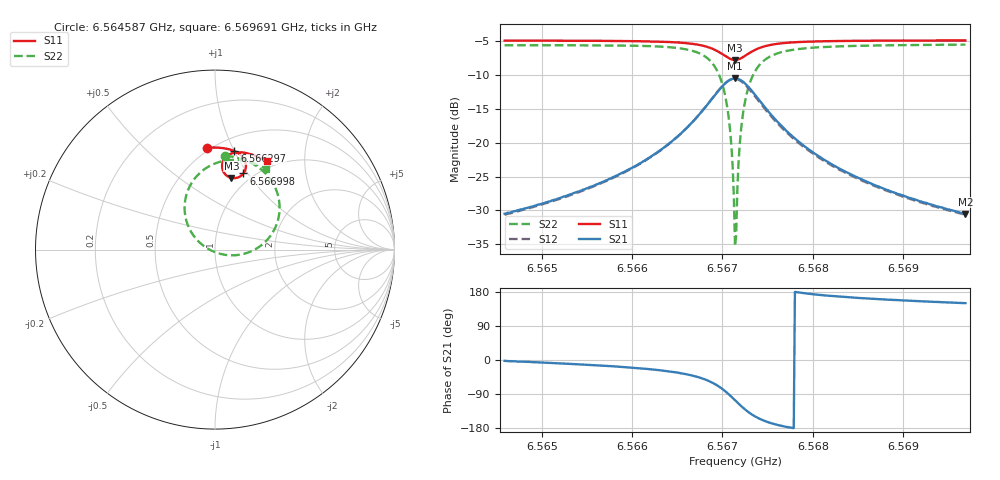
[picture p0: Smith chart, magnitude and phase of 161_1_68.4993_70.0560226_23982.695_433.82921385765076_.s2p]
#  HZ  S  RI  R  50.00
! Rohde & Schwarz Vector Network Analyzer
! Rohde-Schwarz,ZNB20-2Port,1311601062101988,3.16
! Created: UTC 3/20/2024, 5:10:55 PM
! freq[Hz]  re:S11  im:S11  re:S21  im:S21  re:S12  im:S12  re:S22  im:S22
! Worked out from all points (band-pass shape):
!   401 points, 6.564587 GHz to 6.569691 GHz, reference 50 ohm
!   highest |S21| = -10.49 dB at 6.567139 GHz (marker M1); lowest = -30.5 dB at 6.569691 GHz (marker M2)
!   |S21| within 3 dB of the highest: 6.566885 GHz to 6.567395 GHz (509.9 kHz wide, 0.00776 % of centre)
!   lowest |S11| = -7.7 dB at 6.567139 GHz (marker M3), VSWR 2.39, Z = 42.2 + j40.5 ohm
!   |S11| at or under -10 dB: nowhere
!   |S22| runs from -35.3 to -5.5 dB; largest |S21 - S12| = 0.015
!   S11 on the Smith chart (normalised r, x): 6.564587 GHz: 0.48, +0.80; 6.566297 GHz: 0.63, +1.00; 6.566998 GHz: 0.89, +0.95; 6.569691 GHz: 0.90, +1.31
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6.5645868e9  -0.0452 0.5672  0.0298 -0.00115  0.0292 -0.00172  0.0557 0.523
6.5654417e9  0.0259 0.5671  0.0434 -0.00911  0.0429 -0.00978  0.1392 0.5072
6.5662966e9  0.1084 0.5488  0.0775 -0.039  0.0764 -0.0399  0.2595 0.4444
6.5665901e9  0.1436 0.5267  0.1006 -0.0759  0.099 -0.0775  0.3217 0.3716
6.5667942e9  0.1676 0.492  0.1139 -0.1366  0.111 -0.1394  0.3591 0.2549
6.5669091e9  0.1718 0.4576  0.1024 -0.1968  0.0973 -0.2007  0.3429 0.1397
6.5669984e9  0.1581 0.4241  0.062 -0.2541  0.0531 -0.2574  0.2686 0.0329
6.5670367e9  0.1448 0.411  0.031 -0.2754  0.0201 -0.2773  0.211 -0.0051
6.567075e9  0.1269 0.4016  -0.00809 -0.2895  -0.0206 -0.289  0.1392 -0.0284
6.5671005e9  0.1132 0.3984  -0.0374 -0.293  -0.0505 -0.2902  0.0859 -0.0318
6.567126e9  0.0986 0.3983  -0.0679 -0.2907  -0.0809 -0.2855  0.0318 -0.0243
6.5671388e9  0.0912 0.3996  -0.0828 -0.2872  -0.0956 -0.2809  0.00547 -0.0163
6.5671515e9  0.084 0.4015  -0.0975 -0.2823  -0.1099 -0.2749  -0.0199 -0.00582
6.5671643e9  0.0772 0.4044  -0.1115 -0.276  -0.1232 -0.2674  -0.0437 0.00726
6.5671898e9  0.0649 0.4119  -0.1368 -0.2596  -0.1469 -0.2492  -0.086 0.0395
6.5672281e9  0.0508 0.4272  -0.1664 -0.2284  -0.1735 -0.2165  -0.133 0.0983
6.5672791e9  0.0409 0.4505  -0.1888 -0.1823  -0.192 -0.1701  -0.1646 0.1821
6.5673429e9  0.0405 0.4776  -0.1949 -0.1295  -0.1945 -0.1189  -0.1661 0.2744
6.5675726e9  0.0785 0.5291  -0.1492 -0.0287  -0.1459 -0.0242  -0.0641 0.444
6.5679937e9  0.1418 0.5423  -0.0852 0.00917  -0.0831 0.0106  0.0776 0.4982
6.5688486e9  0.224 0.5232  -0.0412 0.0157  -0.0404 0.0161  0.209 0.4822
6.5696907e9  0.2872 0.4931  -0.0258 0.0149  -0.0252 0.0149  0.2858 0.4481
